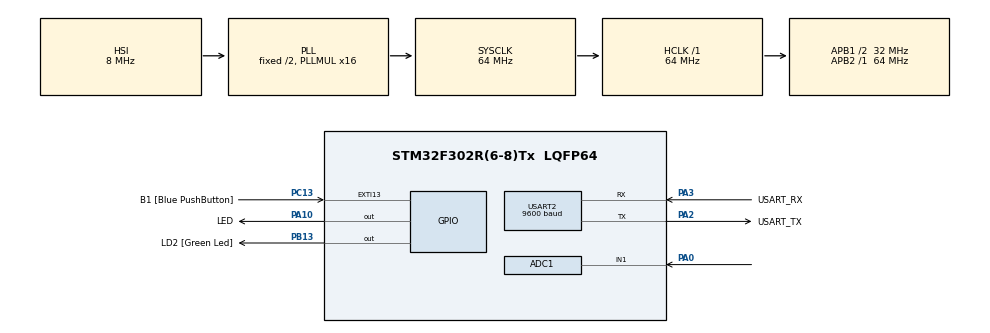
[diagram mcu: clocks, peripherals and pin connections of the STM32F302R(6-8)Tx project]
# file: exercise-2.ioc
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ADC1.Channel-0\#ChannelRegularConversion=ADC_CHANNEL_1
ADC1.ContinuousConvMode=ENABLE
ADC1.NbrOfConversionFlag=1
ADC1.Offset-0\#ChannelRegularConversion=0
ADC1.OffsetNumber-0\#ChannelRegularConversion=ADC_OFFSET_NONE
ADC1.Rank-0\#ChannelRegularConversion=1
ADC1.SamplingTime-0\#ChannelRegularConversion=ADC_SAMPLETIME_1CYCLE_5
ADC1.SamplingTimeOPAMP-0\#ChannelRegularConversion=ADC_SAMPLETIME_61CYCLES_5
ADC1.SubFamily=STM32F302x8
ADC1.master=1
Dma.ADC1.0.Direction=DMA_PERIPH_TO_MEMORY
Dma.ADC1.0.Instance=DMA1_Channel1
Dma.ADC1.0.MemDataAlignment=DMA_MDATAALIGN_HALFWORD
Dma.ADC1.0.MemInc=DMA_MINC_ENABLE
Dma.ADC1.0.Mode=DMA_NORMAL
Dma.ADC1.0.PeriphDataAlignment=DMA_PDATAALIGN_HALFWORD
Dma.ADC1.0.PeriphInc=DMA_PINC_DISABLE
Dma.ADC1.0.Priority=DMA_PRIORITY_LOW
Dma.Request0=ADC1
Dma.Request1=USART2_RX
Dma.Request2=USART2_TX
Dma.USART2_RX.1.Direction=DMA_PERIPH_TO_MEMORY
Dma.USART2_RX.1.Instance=DMA1_Channel6
Dma.USART2_RX.1.MemDataAlignment=DMA_MDATAALIGN_BYTE
Dma.USART2_RX.1.MemInc=DMA_MINC_ENABLE
Dma.USART2_RX.1.Mode=DMA_NORMAL
Dma.USART2_RX.1.PeriphDataAlignment=DMA_PDATAALIGN_BYTE
Dma.USART2_RX.1.PeriphInc=DMA_PINC_DISABLE
Dma.USART2_RX.1.Priority=DMA_PRIORITY_LOW
Dma.USART2_TX.2.Direction=DMA_MEMORY_TO_PERIPH
Dma.USART2_TX.2.Instance=DMA1_Channel7
Dma.USART2_TX.2.MemDataAlignment=DMA_MDATAALIGN_BYTE
Dma.USART2_TX.2.MemInc=DMA_MINC_ENABLE
Dma.USART2_TX.2.Mode=DMA_NORMAL
Dma.USART2_TX.2.PeriphDataAlignment=DMA_PDATAALIGN_BYTE
Dma.USART2_TX.2.PeriphInc=DMA_PINC_DISABLE
Dma.USART2_TX.2.Priority=DMA_PRIORITY_LOW
Mcu.Family=STM32F3
Mcu.Name=STM32F302R(6-8)Tx
Mcu.Package=LQFP64
NVIC.ADC1_IRQn=true\:0\:0\:false\:false\:true\:true\:true\:true
NVIC.DMA1_Channel1_IRQn=true\:0\:0\:false\:false\:true\:false\:true\:true
NVIC.DMA1_Channel6_IRQn=true\:0\:0\:false\:false\:true\:false\:true\:true
NVIC.DMA1_Channel7_IRQn=true\:0\:0\:false\:false\:true\:false\:true\:true
NVIC.PriorityGroup=NVIC_PRIORITYGROUP_0
NVIC.USART2_IRQn=true\:0\:0\:false\:false\:true\:true\:true\:true
PA0.Mode=IN1-Single-Ended
PA0.Signal=ADC1_IN1
PA10.GPIO_Label=LED
PA10.Signal=GPIO_Output
PA13.GPIO_Label=TMS
PA13.Signal=SYS_JTMS-SWDIO
PA14.GPIO_Label=TCK
PA14.Signal=SYS_JTCK-SWCLK
PA2.GPIO_Label=USART_TX
PA2.GPIO_Mode=GPIO_MODE_AF_PP
PA2.GPIO_PuPd=GPIO_NOPULL
PA2.GPIO_Speed=GPIO_SPEED_FREQ_LOW
PA2.Mode=Asynchronous
PA2.Signal=USART2_TX
PA3.GPIO_Label=USART_RX
PA3.GPIO_Mode=GPIO_MODE_AF_PP
PA3.GPIO_PuPd=GPIO_NOPULL
PA3.GPIO_Speed=GPIO_SPEED_FREQ_LOW
PA3.Mode=Asynchronous
PA3.Signal=USART2_RX
PB13.GPIO_Label=LD2 [Green Led]
PB13.Signal=GPIO_Output
PB3.GPIO_Label=SWO
PB3.Signal=SYS_JTDO-TRACESWO
PC13.GPIO_Label=B1 [Blue PushButton]
PC13.GPIO_ModeDefaultEXTI=GPIO_MODE_IT_FALLING
PC13.Signal=GPXTI13
PC14\ -\ OSC32_IN.Mode=LSE-External-Oscillator
PC14\ -\ OSC32_IN.Signal=RCC_OSC32_IN
PC15\ -\ OSC32_OUT.Mode=LSE-External-Oscillator
PC15\ -\ OSC32_OUT.Signal=RCC_OSC32_OUT
PF0-OSC_IN.Mode=HSE-External-Clock-Source
PF0-OSC_IN.Signal=RCC_OSC_IN
PF1-OSC_OUT.Signal=RCC_OSC_OUT
ProjectManager.HeapSize=0x200
ProjectManager.StackSize=0x400
ProjectManager.TargetToolchain=STM32CubeIDE
RCC.AHBFreq_Value=64000000
RCC.APB1CLKDivider=RCC_HCLK_DIV2
RCC.APB1Freq_Value=32000000
RCC.APB1TimFreq_Value=64000000
RCC.APB2Freq_Value=64000000
RCC.APB2TimFreq_Value=64000000
RCC.CortexFreq_Value=64000000
RCC.HCLKFreq_Value=64000000
RCC.HSE_VALUE=8000000
RCC.HSI_VALUE=8000000
RCC.PLLM=8
RCC.PLLMUL=RCC_PLL_MUL16
RCC.PLLN=336
RCC.PLLP=RCC_PLLP_DIV4
RCC.PLLQ=7
RCC.RCC_PLLsource_Clock_Source_FROM_HSE=RCC_HSE_PREDIV_DIV2
RCC.SYSCLKFreq_VALUE=64000000
RCC.SYSCLKSourceVirtual=RCC_SYSCLKSOURCE_PLLCLK
RCC.USBFreq_Value=64000000
USART2.BaudRate=9600
USART2.VirtualMode-Asynchronous=VM_ASYNC
board=NUCLEO-F302R8

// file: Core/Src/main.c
/* USER CODE BEGIN Header */
/**
  ******************************************************************************
  * @file           : main.c
  * @brief          : Main program body
  ******************************************************************************
  * @attention
  *
  * Copyright (c) 2026 STMicroelectronics.
  * All rights reserved.
  *
  * This software is licensed under terms that can be found in the LICENSE file
  * in the root directory of this software component.
  * If no LICENSE file comes with this software, it is provided AS-IS.
  *
  ******************************************************************************
  */
/* USER CODE END Header */
#include "main.h"
#include "adc.h"
#include "dma.h"
#include "usart.h"
#include "gpio.h"

/* USER CODE BEGIN Includes */
#include <stdio.h>
#include <string.h>
/* USER CODE END Includes */

/* USER CODE BEGIN PV */
extern ADC_HandleTypeDef hadc1;
extern DMA_HandleTypeDef hdma_adc1;

extern UART_HandleTypeDef huart2;
extern DMA_HandleTypeDef hdma_usart2_tx;
uint16_t adc_ram_buffer[1];
char uart_tx_buffer[64];
/* USER CODE END PV */

void SystemClock_Config(void);

int main(void)
{

  /* MCU Configuration--------------------------------------------------------*/

  /* Reset of all peripherals, Initializes the Flash interface and the Systick. */
  HAL_Init();

  /* Configure the system clock */
  SystemClock_Config();

  /* Initialize all configured peripherals */
  MX_GPIO_Init();
  MX_DMA_Init();
  MX_ADC1_Init();
  MX_USART2_UART_Init();
  /* USER CODE BEGIN 2 */

  // Start the ADC in DMA mode.
  // Because "Continuous Conversion" is enabled, the DMA will continuously
  // overwrite adc_ram_buffer[0] in the background automatically.
  HAL_ADC_Start_DMA(&hadc1, (uint32_t*)adc_ram_buffer, 1);

  /* USER CODE END 2 */

  /* Infinite loop */
  /* USER CODE BEGIN WHILE */
  while (1)
  {
    HAL_Delay(1000);

    float voltage = (adc_ram_buffer[0] / 4095.0f) * 3.3f;
    float temp_celsius = (voltage - 0.5f) * 100.0f;

    sprintf(uart_tx_buffer, "Temp: %.2f C\r\n", temp_celsius);

    HAL_UART_Transmit_DMA(&huart2, (uint8_t*)uart_tx_buffer, strlen(uart_tx_buffer));

    HAL_GPIO_TogglePin(LED_GPIO_Port, LED_Pin);

    /* USER CODE END WHILE */

  }
}

void SystemClock_Config(void)
{
  RCC_OscInitTypeDef RCC_OscInitStruct = {0};
  RCC_ClkInitTypeDef RCC_ClkInitStruct = {0};
  RCC_PeriphCLKInitTypeDef PeriphClkInit = {0};

  /** Initializes the RCC Oscillators according to the specified parameters
  * in the RCC_OscInitTypeDef structure.
  */
  RCC_OscInitStruct.OscillatorType = RCC_OSCILLATORTYPE_HSI;
  RCC_OscInitStruct.HSIState = RCC_HSI_ON;
  RCC_OscInitStruct.HSICalibrationValue = RCC_HSICALIBRATION_DEFAULT;
  RCC_OscInitStruct.PLL.PLLState = RCC_PLL_ON;
  RCC_OscInitStruct.PLL.PLLSource = RCC_PLLSOURCE_HSI;
  RCC_OscInitStruct.PLL.PLLMUL = RCC_PLL_MUL16;
  if (HAL_RCC_OscConfig(&RCC_OscInitStruct) != HAL_OK)
  {
    Error_Handler();
  }

  /** Initializes the CPU, AHB and APB buses clocks
  */
  RCC_ClkInitStruct.ClockType = RCC_CLOCKTYPE_HCLK|RCC_CLOCKTYPE_SYSCLK
                              |RCC_CLOCKTYPE_PCLK1|RCC_CLOCKTYPE_PCLK2;
  RCC_ClkInitStruct.SYSCLKSource = RCC_SYSCLKSOURCE_PLLCLK;
  RCC_ClkInitStruct.AHBCLKDivider = RCC_SYSCLK_DIV1;
  RCC_ClkInitStruct.APB1CLKDivider = RCC_HCLK_DIV2;
  RCC_ClkInitStruct.APB2CLKDivider = RCC_HCLK_DIV1;

  if (HAL_RCC_ClockConfig(&RCC_ClkInitStruct, FLASH_LATENCY_2) != HAL_OK)
  {
    Error_Handler();
  }
  PeriphClkInit.PeriphClockSelection = RCC_PERIPHCLK_ADC1;
  PeriphClkInit.Adc1ClockSelection = RCC_ADC1PLLCLK_DIV1;

  if (HAL_RCCEx_PeriphCLKConfig(&PeriphClkInit) != HAL_OK)
  {
    Error_Handler();
  }
}

void Error_Handler(void)
{
  __disable_irq();
  while (1)
  {
  }
}
